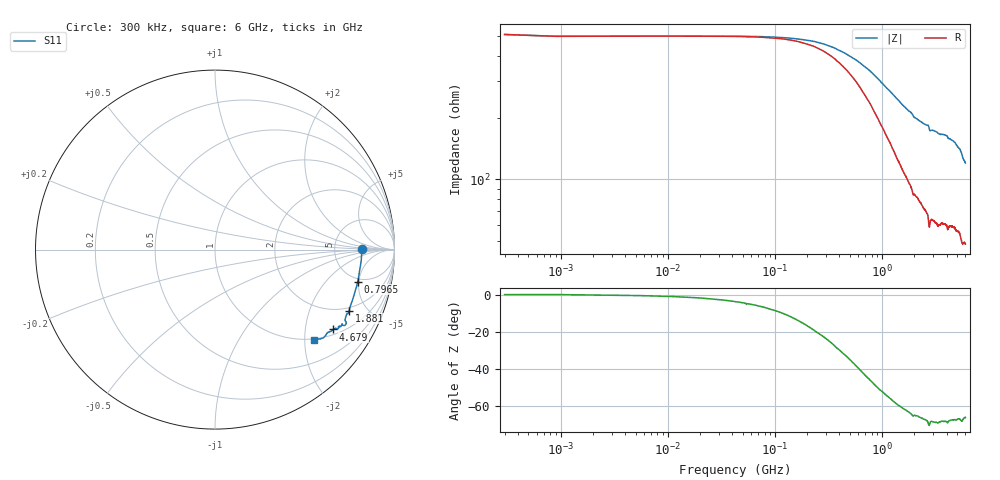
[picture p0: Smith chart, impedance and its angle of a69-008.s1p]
!  3/12/2021  08:03:15
! Ref Plane: 23.990 mm
# MHZ S MA R  50
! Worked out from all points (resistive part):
!   10001 points, 300 kHz to 6 GHz, reference 50 ohm
!   read as one part to ground: R = 497 ohm at 30.3 MHz
!   S11 on the Smith chart (normalised r, x): 300 kHz: 10, +0; 796.5 MHz: 4.55, -4.83; 1.881 GHz: 1.81, -3.80; 4.679 GHz: 1.17, -2.82; 6 GHz: 0.97, -2.20
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0.3  0.8205 0.1
393.2804  0.815 -6.6
750.2625  0.8151 -12.0
796.4602  0.8147 -12.7
1100.645  0.8145 -16.8
1500.225  0.8162 -21.2
1880.606  0.8217 -24.4
1966.402  0.8218 -25.6
2250.188  0.8193 -27.0
2556.172  0.823 -28.4
2662.967  0.8282 -28.7
2728.964  0.8395 -29.4
2773.961  0.8346 -30.5
2833.958  0.8208 -30.5
3000.15  0.8215 -30.4
3343.333  0.8211 -31.5
3517.924  0.8139 -31.7
3750.113  0.8129 -31.8
4062.097  0.8155 -32.4
4113.094  0.813 -32.9
4175.491  0.8055 -33.1
4500.075  0.798 -33.6
4679.466  0.7941 -34.1
5250.038  0.7792 -36.6
5467.827  0.7799 -38.1
5649.018  0.7698 -40.2
5761.812  0.7579 -41.1
6000  0.745 -42.6
